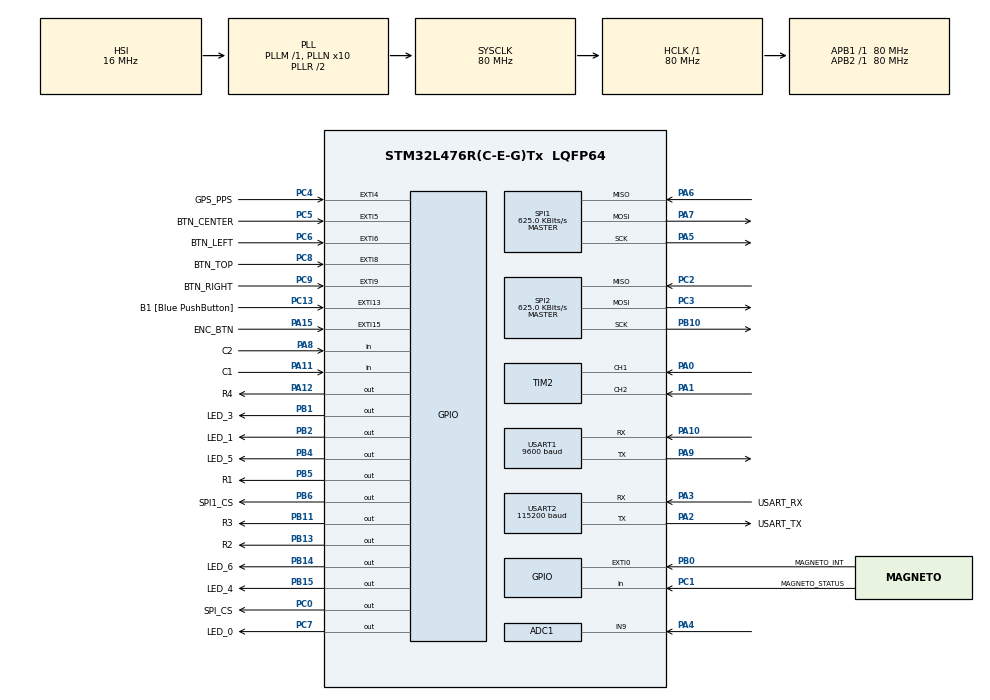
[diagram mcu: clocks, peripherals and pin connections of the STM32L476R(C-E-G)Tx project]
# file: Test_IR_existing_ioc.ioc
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ADC1.Channel-2\#ChannelRegularConversion=ADC_CHANNEL_9
ADC1.ContinuousConvMode=DISABLE
ADC1.ExternalTrigConv=ADC_EXTERNALTRIG_T4_TRGO
ADC1.NbrOfConversionFlag=1
ADC1.OffsetNumber-2\#ChannelRegularConversion=ADC_OFFSET_NONE
ADC1.Rank-2\#ChannelRegularConversion=1
ADC1.SamplingTime-2\#ChannelRegularConversion=ADC_SAMPLETIME_2CYCLES_5
ADC1.master=1
Mcu.Family=STM32L4
Mcu.Name=STM32L476R(C-E-G)Tx
Mcu.Package=LQFP64
NVIC.ADC1_2_IRQn=true\:0\:0\:false\:false\:true\:true\:true\:true
NVIC.EXTI15_10_IRQn=true\:0\:0\:false\:false\:true\:true\:true\:true
NVIC.PriorityGroup=NVIC_PRIORITYGROUP_4
NVIC.TIM4_IRQn=true\:0\:0\:false\:false\:true\:true\:true\:true
NVIC.TIM6_DAC_IRQn=true\:15\:0\:false\:false\:true\:false\:true\:true
NVIC.TimeBase=TIM6_DAC_IRQn
NVIC.TimeBaseIP=TIM6
PA0.Signal=S_TIM2_CH1
PA1.Signal=S_TIM2_CH2
PA10.Mode=Asynchronous
PA10.Signal=USART1_RX
PA11.GPIO_Label=C1
PA11.GPIO_PuPd=GPIO_PULLUP
PA11.Signal=GPIO_Input
PA12.GPIO_Label=R4
PA12.PinState=GPIO_PIN_SET
PA12.Signal=GPIO_Output
PA13\ (JTMS-SWDIO).GPIO_Label=TMS
PA13\ (JTMS-SWDIO).Mode=Trace_Asynchronous_SW
PA13\ (JTMS-SWDIO).Signal=SYS_JTMS-SWDIO
PA14\ (JTCK-SWCLK).GPIO_Label=TCK
PA14\ (JTCK-SWCLK).Mode=Trace_Asynchronous_SW
PA14\ (JTCK-SWCLK).Signal=SYS_JTCK-SWCLK
PA15\ (JTDI).GPIO_Label=ENC_BTN
PA15\ (JTDI).Signal=GPXTI15
PA2.GPIO_Label=USART_TX
PA2.GPIO_Mode=GPIO_MODE_AF_PP
PA2.GPIO_PuPd=GPIO_NOPULL
PA2.GPIO_Speed=GPIO_SPEED_FREQ_VERY_HIGH
PA2.Mode=Asynchronous
PA2.Signal=USART2_TX
PA3.GPIO_Label=USART_RX
PA3.GPIO_Mode=GPIO_MODE_AF_PP
PA3.GPIO_PuPd=GPIO_NOPULL
PA3.GPIO_Speed=GPIO_SPEED_FREQ_VERY_HIGH
PA3.Mode=Asynchronous
PA3.Signal=USART2_RX
PA4.Signal=ADCx_IN9
PA5.Mode=Full_Duplex_Master
PA5.Signal=SPI1_SCK
PA6.Mode=Full_Duplex_Master
PA6.Signal=SPI1_MISO
PA7.Mode=Full_Duplex_Master
PA7.Signal=SPI1_MOSI
PA8.GPIO_Label=C2
PA8.GPIO_PuPd=GPIO_PULLUP
PA8.Signal=GPIO_Input
PA9.Mode=Asynchronous
PA9.Signal=USART1_TX
PB0.GPIO_Label=MAGNETO_INT
PB0.Signal=GPXTI0
PB1.GPIO_Label=LED_3
PB1.Signal=GPIO_Output
PB10.Mode=Full_Duplex_Master
PB10.Signal=SPI2_SCK
PB11.GPIO_Label=R3
PB11.PinState=GPIO_PIN_SET
PB11.Signal=GPIO_Output
PB13.GPIO_Label=R2
PB13.PinState=GPIO_PIN_SET
PB13.Signal=GPIO_Output
PB14.GPIO_Label=LED_6
PB14.Signal=GPIO_Output
PB15.GPIO_Label=LED_4
PB15.Signal=GPIO_Output
PB2.GPIO_Label=LED_1
PB2.Signal=GPIO_Output
PB3\ (JTDO-TRACESWO).Mode=Trace_Asynchronous_SW
PB3\ (JTDO-TRACESWO).Signal=SYS_JTDO-SWO
PB4\ (NJTRST).GPIO_Label=LED_5
PB4\ (NJTRST).Signal=GPIO_Output
PB5.GPIO_Label=R1
PB5.PinState=GPIO_PIN_SET
PB5.Signal=GPIO_Output
PB6.GPIO_Label=SPI1_CS
PB6.GPIO_Speed=GPIO_SPEED_FREQ_HIGH
PB6.PinState=GPIO_PIN_SET
PB6.Signal=GPIO_Output
PC0.GPIO_Label=SPI_CS
PC0.PinState=GPIO_PIN_SET
PC0.Signal=GPIO_Output
PC1.GPIO_Label=MAGNETO_STATUS
PC1.Signal=GPIO_Input
PC13.GPIO_Label=B1 [Blue PushButton]
PC13.GPIO_ModeDefaultEXTI=GPIO_MODE_IT_FALLING
PC13.GPIO_PuPd=GPIO_NOPULL
PC13.Signal=GPXTI13
PC14-OSC32_IN\ (PC14).Mode=LSE-External-Oscillator
PC14-OSC32_IN\ (PC14).Signal=RCC_OSC32_IN
PC15-OSC32_OUT\ (PC15).Mode=LSE-External-Oscillator
PC15-OSC32_OUT\ (PC15).Signal=RCC_OSC32_OUT
PC2.Mode=Full_Duplex_Master
PC2.Signal=SPI2_MISO
PC3.Mode=Full_Duplex_Master
PC3.Signal=SPI2_MOSI
PC4.GPIO_Label=GPS_PPS
PC4.Signal=GPXTI4
PC5.GPIO_Label=BTN_CENTER
PC5.Signal=GPXTI5
PC6.GPIO_Label=BTN_LEFT
PC6.Signal=GPXTI6
PC7.GPIO_Label=LED_0
PC7.Signal=GPIO_Output
PC8.GPIO_Label=BTN_TOP
PC8.Signal=GPXTI8
PC9.GPIO_Label=BTN_RIGHT
PC9.Signal=GPXTI9
PH0-OSC_IN\ (PH0).Mode=HSE-External-Oscillator
PH0-OSC_IN\ (PH0).Signal=RCC_OSC_IN
PH1-OSC_OUT\ (PH1).Mode=HSE-External-Oscillator
PH1-OSC_OUT\ (PH1).Signal=RCC_OSC_OUT
ProjectManager.HeapSize=0x200
ProjectManager.StackSize=0x400
ProjectManager.TargetToolchain=STM32CubeIDE
RCC.ADCFreq_Value=64000000
RCC.AHBFreq_Value=80000000
RCC.APB1Freq_Value=80000000
RCC.APB1TimFreq_Value=80000000
RCC.APB2Freq_Value=80000000
RCC.APB2TimFreq_Value=80000000
RCC.CortexFreq_Value=80000000
RCC.HCLKFreq_Value=80000000
RCC.HSE_VALUE=8000000
RCC.HSI_VALUE=16000000
RCC.MSI_VALUE=4000000
RCC.PLLN=10
RCC.PLLSourceVirtual=RCC_PLLSOURCE_HSI
RCC.PREFETCH_ENABLE=1
RCC.SYSCLKFreq_VALUE=80000000
RCC.SYSCLKSource=RCC_SYSCLKSOURCE_PLLCLK
RCC.USBFreq_Value=64000000
RCC.VCOOutputFreq_Value=160000000
SH.ADCx_IN9.0=ADC1_IN9,IN9-Single-Ended
SH.S_TIM2_CH1.0=TIM2_CH1,Encoder_Interface
SH.S_TIM2_CH2.0=TIM2_CH2,Encoder_Interface
SPI1.BaudRatePrescaler=SPI_BAUDRATEPRESCALER_128
SPI1.CalculateBaudRate=625.0 KBits/s
SPI1.DataSize=SPI_DATASIZE_8BIT
SPI1.Direction=SPI_DIRECTION_2LINES
SPI1.Mode=SPI_MODE_MASTER
SPI1.VirtualType=VM_MASTER
SPI2.BaudRatePrescaler=SPI_BAUDRATEPRESCALER_128
SPI2.CalculateBaudRate=625.0 KBits/s
SPI2.DataSize=SPI_DATASIZE_8BIT
SPI2.Direction=SPI_DIRECTION_2LINES
SPI2.Mode=SPI_MODE_MASTER
SPI2.NSSPMode=SPI_NSS_PULSE_DISABLE
SPI2.VirtualType=VM_MASTER
TIM4.Period=9999
TIM4.Prescaler=79
TIM4.TIM_MasterOutputTrigger=TIM_TRGO_UPDATE
USART1.BaudRate=9600
USART1.VirtualMode-Asynchronous=VM_ASYNC
USART2.BaudRate=115200
USART2.VirtualMode-Asynchronous=VM_ASYNC
VP_SYS_VS_tim6.Mode=TIM6
VP_TIM3_VS_ClockSourceINT.Mode=Internal
VP_TIM4_VS_ClockSourceINT.Mode=Internal
board=NUCLEO-L476RG

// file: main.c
/* USER CODE BEGIN Header */
/**
 ******************************************************************************
 * @file           : main.c
 * @brief          : Main program body
 ******************************************************************************
 * @attention
 *
 * Copyright (c) 2025 STMicroelectronics.
 * All rights reserved.
 *
 * This software is licensed under terms that can be found in the LICENSE file
 * in the root directory of this software component.
 * If no LICENSE file comes with this software, it is provided AS-IS.
 *
 ******************************************************************************
 */
/* USER CODE END Header */
#include "main.h"
#include "adc.h"
#include "spi.h"
#include "tim.h"
#include "usart.h"
#include "gpio.h"

/* USER CODE BEGIN Includes */
#include <stdio.h>
/* USER CODE END Includes */

/* USER CODE BEGIN PD */
#define SPI1_CS_Pin GPIO_PIN_6
#define SPI1_CS_Port GPIOB

uint8_t tx[16] = { 0 };     // dummy bytes to clock the slave
uint8_t rx[16] = { 0 };     // buffer for sensor data
uint16_t sensor[8];		  // nombre de capteurs
int score = 0; // Initialisation du compteur à 0
int deja_compte = 0; // Empêchera un effet rebond "flag"

#define CS_LOW()  HAL_GPIO_WritePin(SPI1_CS_Port, SPI1_CS_Pin, GPIO_PIN_RESET)
#define CS_HIGH() HAL_GPIO_WritePin(SPI1_CS_Port, SPI1_CS_Pin, GPIO_PIN_SET)

/* USER CODE END PD */

void SystemClock_Config(void);

/* USER CODE BEGIN 0 */
int __io_putchar(int ch) {
	HAL_UART_Transmit(&huart2, (uint8_t*) &ch, 1, HAL_MAX_DELAY);
	return ch;
}

void read_and_decode_sensors(void) {
    for (int i = 0; i < 8; i++) {
        uint8_t tx_buff[3];
        uint8_t rx_buff[3];

        // Construction de l'octet de commande pour MCP3208
        // Byte 0: Start bit (0x04)
        // Byte 1: Single/Diff + Channel D2, D1, D0
        // Pour MCP3208: Start=1, SGL=1, D2-D0=channel

#define START_BIT 0x04
#define SINGLE_BIT 0x02
#define D2_POS 0x01

        uint8_t d2 = ((i >> 2) & D2_POS);
        tx_buff[0] = START_BIT | SINGLE_BIT | d2; // Start bit + SGL + D2
        tx_buff[1] = (i << 6) & 0xC0;          // D1 + D0 + dummies
        tx_buff[2] = 0x00;                     // Dummy byte

        CS_LOW();
        // On envoie 3 octets pour recevoir la réponse d'un canal
        HAL_SPI_TransmitReceive(&hspi1, tx_buff, rx_buff, 3, 10);
        CS_HIGH();

        // Reconstruction sur 12 bits (les données chevauchent les octets 1 et 2)
        // MCP3208 : Les 4 derniers bits de rx[1] et tout rx[2]
        sensor[i] = ((rx_buff[1] & 0x0F) << 8) | rx_buff[2];

        // Petit délai pour laisser l'ADC respirer (optionnel selon vitesse SPI)
        // for(int k=0; k<100; k++);
    }
}

void print_sensors(void) {
	char buffer[100];
	int len = snprintf(buffer, sizeof(buffer),
			"S: %4d %4d %4d %4d %4d %4d %4d %4d\r\n", sensor[0], sensor[1],
			sensor[2], sensor[3], sensor[4], sensor[5], sensor[6], sensor[7]);
	//HAL_UART_Transmit(&huart2, (uint8_t*) buffer, len, HAL_MAX_DELAY);
	if (sensor[4]<1000 && deja_compte == 0){
		score+=50;
		deja_compte=1; //On bloque le comptage
		len = snprintf(buffer, sizeof(buffer), "Score: %d\n\r", score);
		HAL_UART_Transmit(&huart2, (uint8_t*) buffer, len, HAL_MAX_DELAY);
	}
	if (sensor[4]>1000){
		deja_compte=0; //On réautorise le comptage
	}
}
/* USER CODE END 0 */

int main(void)
{

  /* MCU Configuration--------------------------------------------------------*/

  /* Reset of all peripherals, Initializes the Flash interface and the Systick. */
  HAL_Init();

  /* Configure the system clock */
  SystemClock_Config();

  /* Initialize all configured peripherals */
  MX_GPIO_Init();
  MX_USART2_UART_Init();
  MX_SPI2_Init();
  MX_TIM2_Init();
  MX_TIM3_Init();
  MX_USART1_UART_Init();
  MX_ADC1_Init();
  MX_TIM4_Init();
  MX_SPI1_Init();
  /* USER CODE BEGIN 2 */
	CS_HIGH();
  /* USER CODE END 2 */

  /* Infinite loop */
  /* USER CODE BEGIN WHILE */

	while (1) {
		read_and_decode_sensors();
		print_sensors();
		HAL_Delay(10); //besoin ajustement (balle à 6m/s sur 3,4mm)

	}
    /* USER CODE END WHILE */

}

void SystemClock_Config(void)
{
  RCC_OscInitTypeDef RCC_OscInitStruct = {0};
  RCC_ClkInitTypeDef RCC_ClkInitStruct = {0};

  /** Configure the main internal regulator output voltage
  */
  if (HAL_PWREx_ControlVoltageScaling(PWR_REGULATOR_VOLTAGE_SCALE1) != HAL_OK)
  {
    Error_Handler();
  }

  /** Initializes the RCC Oscillators according to the specified parameters
  * in the RCC_OscInitTypeDef structure.
  */
  RCC_OscInitStruct.OscillatorType = RCC_OSCILLATORTYPE_HSI;
  RCC_OscInitStruct.HSIState = RCC_HSI_ON;
  RCC_OscInitStruct.HSICalibrationValue = RCC_HSICALIBRATION_DEFAULT;
  RCC_OscInitStruct.PLL.PLLState = RCC_PLL_ON;
  RCC_OscInitStruct.PLL.PLLSource = RCC_PLLSOURCE_HSI;
  RCC_OscInitStruct.PLL.PLLM = 1;
  RCC_OscInitStruct.PLL.PLLN = 10;
  RCC_OscInitStruct.PLL.PLLP = RCC_PLLP_DIV7;
  RCC_OscInitStruct.PLL.PLLQ = RCC_PLLQ_DIV2;
  RCC_OscInitStruct.PLL.PLLR = RCC_PLLR_DIV2;
  if (HAL_RCC_OscConfig(&RCC_OscInitStruct) != HAL_OK)
  {
    Error_Handler();
  }

  /** Initializes the CPU, AHB and APB buses clocks
  */
  RCC_ClkInitStruct.ClockType = RCC_CLOCKTYPE_HCLK|RCC_CLOCKTYPE_SYSCLK
                              |RCC_CLOCKTYPE_PCLK1|RCC_CLOCKTYPE_PCLK2;
  RCC_ClkInitStruct.SYSCLKSource = RCC_SYSCLKSOURCE_PLLCLK;
  RCC_ClkInitStruct.AHBCLKDivider = RCC_SYSCLK_DIV1;
  RCC_ClkInitStruct.APB1CLKDivider = RCC_HCLK_DIV1;
  RCC_ClkInitStruct.APB2CLKDivider = RCC_HCLK_DIV1;

  if (HAL_RCC_ClockConfig(&RCC_ClkInitStruct, FLASH_LATENCY_4) != HAL_OK)
  {
    Error_Handler();
  }
}

void HAL_TIM_PeriodElapsedCallback(TIM_HandleTypeDef *htim)
{
  if (htim->Instance == TIM6) {
    HAL_IncTick();
  }
}

void Error_Handler(void)
{
	__disable_irq();
}
